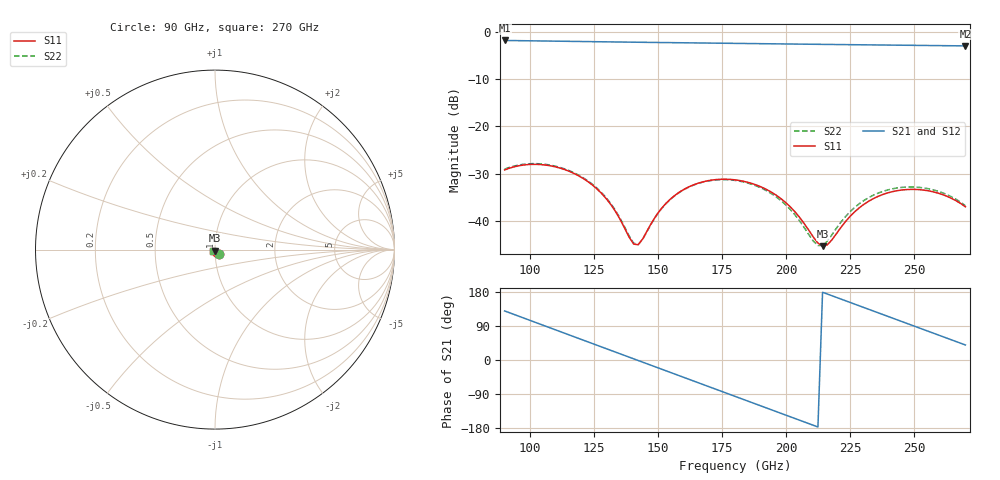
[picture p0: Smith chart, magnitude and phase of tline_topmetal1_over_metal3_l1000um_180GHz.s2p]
#  GHZ S DB R 50
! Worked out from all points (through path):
!   101 points, 90 GHz to 270 GHz, reference 50 ohm
!   highest |S21| = -1.86 dB at 90 GHz (marker M1); lowest = -3.0 dB at 270 GHz (marker M2)
!   group delay of S21, straight-line fit = 6.94 ps
!   lowest |S11| = -45.3 dB at 214.2 GHz (marker M3), VSWR 1.01, Z = 49.9 - j0.532 ohm
!   |S11| at or under -10 dB: start of sweep to end of sweep
!   |S22| runs from -45.1 to -27.9 dB; largest |S21 - S12| = 1.2e-13
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90  -29.19 -47.8  -1.86 129.5  -1.86 129.5  -29.01 -47.8
97.2  -28.16 -62.8  -1.91 111.4  -1.91 111.4  -28.01 -62.9
104.4  -28.07 -78.7  -1.96 93.3  -1.96 93.3  -27.92 -78.8
111.6  -28.79 -94.6  -2.02 75.3  -2.02 75.3  -28.65 -94.7
120.6  -30.96 -113.4  -2.08 52.7  -2.08 52.7  -30.81 -113.6
131.4  -36.43 -129.2  -2.16 25.7  -2.16 25.7  -36.23 -129.5
140.4  -44.84 -97.1  -2.22 3.1  -2.22 3.1  -44.64 -99.3
144  -43.71 -59.3  -2.25 -5.9  -2.25 -5.9  -43.78 -61.3
151.2  -37.37 -42.6  -2.29 -23.9  -2.29 -23.9  -37.44 -43.1
158.4  -33.84 -51.3  -2.34 -41.9  -2.34 -41.9  -33.89 -51.6
165.6  -31.99 -65.0  -2.38 -59.9  -2.38 -59.9  -32.05 -65.1
180  -31.28 -95.7  -2.47 -95.9  -2.47 -95.9  -31.40 -95.5
187.2  -32.15 -110.8  -2.52 -113.9  -2.52 -113.9  -32.34 -110.5
196.2  -34.56 -127.7  -2.57 -136.3  -2.57 -136.3  -34.92 -126.8
203.4  -38.01 -136.1  -2.62 -154.3  -2.62 -154.3  -38.65 -133.7
210.6  -43.37 -125.7  -2.66 -172.3  -2.66 -172.3  -44.22 -116.3
214.2  -45.28 -101.5  -2.68 178.7  -2.68 178.7  -45.14 -87.6
217.8  -43.99 -75.4  -2.70 169.8  -2.70 169.8  -42.93 -65.6
226.8  -38.00 -63.1  -2.76 147.3  -2.76 147.3  -37.08 -60.1
241.2  -33.81 -86.5  -2.84 111.4  -2.84 111.4  -33.21 -85.1
255.6  -33.60 -117.5  -2.92 75.5  -2.92 75.5  -33.16 -116.1
270  -36.97 -148.1  -3.00 39.6  -3.00 39.6  -36.75 -145.9
